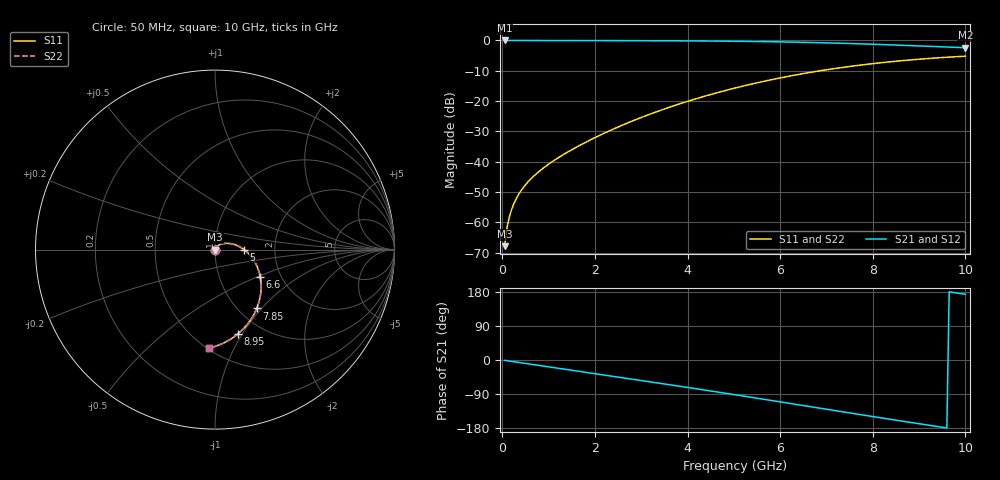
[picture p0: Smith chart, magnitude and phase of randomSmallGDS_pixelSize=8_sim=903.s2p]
! freq	dB(S11)	phase(S11)	dB(S12)	phase(S12)
!  dB(S21)	phase(S21)	dB(S22)	phase(S22)
!S-par simulation data
#  GHz  S  DB  R 50
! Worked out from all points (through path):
!   200 points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, 50 MHz to 10 GHz, reference 50 ohm
!   highest |S21| = 0.00 dB at 50 MHz (marker M1); lowest = -2.4 dB at 10 GHz (marker M2)
!   group delay of S21, straight-line fit = 52.3 ps
!   lowest |S11| = -67.9 dB at 50 MHz (marker M3), VSWR 1.00, Z = 50 + j0.0401 ohm
!   |S11| at or under -10 dB: start of sweep to 6.863 GHz
!   |S22| runs from -67.9 to -5.2 dB; largest |S21 - S12| = 0
!   S11 on the Smith chart (normalised r, x): 50 MHz: 1.00, +0.00; 5 GHz: 1.39, -0.00; 6.6 GHz: 1.57, -0.52; 7.85 GHz: 1.20, -0.94; 8.95 GHz: 0.78, -0.96; 10 GHz: 0.51, -0.80
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0.05  -67.88 83.6  -0.00 -0.9  -0.00 -0.9  -67.88 83.6
0.1  -61.89 85.4  -0.00 -1.8  -0.00 -1.8  -61.89 85.5
0.15  -58.36 85.5  -0.00 -2.7  -0.00 -2.7  -58.36 85.5
0.2  -55.84 85.1  -0.00 -3.6  -0.00 -3.6  -55.84 85.1
0.3  -52.26 83.8  -0.00 -5.4  -0.00 -5.4  -52.26 83.8
0.45  -48.62 81.5  -0.01 -8.1  -0.01 -8.1  -48.62 81.5
0.65  -45.19 78.3  -0.01 -11.6  -0.01 -11.6  -45.19 78.3
0.95  -41.37 73.4  -0.02 -17.0  -0.02 -17.0  -41.37 73.4
1.75  -33.99 60.0  -0.04 -31.2  -0.04 -31.2  -33.99 60.0
2.55  -28.22 45.7  -0.06 -45.6  -0.06 -45.6  -28.22 45.8
3.4  -23.15 30.1  -0.09 -61.2  -0.09 -61.2  -23.15 30.1
4.2  -19.16 15.1  -0.15 -76.0  -0.15 -76.0  -19.16 15.1
5  -15.80 -0.0  -0.25 -91.2  -0.25 -91.2  -15.80 -0.0
5.05  -15.61 -1.0  -0.26 -92.1  -0.26 -92.1  -15.61 -1.0
5.8  -12.98 -15.4  -0.41 -106.6  -0.41 -106.6  -12.98 -15.3
6.6  -10.66 -30.8  -0.64 -122.1  -0.64 -122.1  -10.66 -30.8
6.7  -10.40 -32.7  -0.68 -124.1  -0.68 -124.1  -10.40 -32.7
7.3  -9.00 -44.2  -0.92 -135.8  -0.92 -135.8  -9.00 -44.2
7.85  -7.91 -54.7  -1.17 -146.4  -1.17 -146.4  -7.91 -54.6
8.35  -7.08 -64.0  -1.43 -156.0  -1.43 -156.0  -7.08 -63.9
8.95  -6.25 -74.9  -1.77 -167.3  -1.77 -167.3  -6.25 -74.9
10  -5.20 -93.4  -2.40 173.5  -2.40 173.5  -5.20 -93.3
